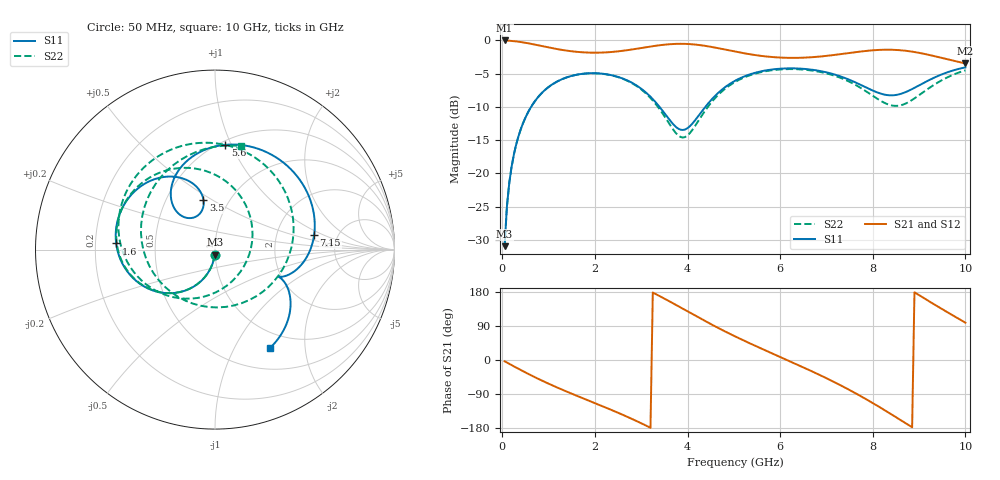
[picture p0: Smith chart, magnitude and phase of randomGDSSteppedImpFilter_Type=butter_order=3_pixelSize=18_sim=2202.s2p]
! freq	dB(S11)	phase(S11)	dB(S12)	phase(S12)
!  dB(S21)	phase(S21)	dB(S22)	phase(S22)
!S-par simulation data
#  GHz  S  DB  R 50
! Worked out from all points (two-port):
!   200 points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, 50 MHz to 10 GHz, reference 50 ohm
!   highest |S21| = -0.01 dB at 50 MHz (marker M1); lowest = -3.5 dB at 10 GHz (marker M2)
!   |S21| within 3 dB of the highest: start of sweep to 9.711 GHz
!   lowest |S11| = -30.9 dB at 50 MHz (marker M3), VSWR 1.06, Z = 49.7 - j2.82 ohm
!   |S11| at or under -10 dB: start of sweep to 622.6 MHz; 3.396 GHz to 4.384 GHz (987.7 MHz wide, 25.4 % of centre)
!   |S22| runs from -30.9 to -4.3 dB; largest |S21 - S12| = 0
!   S11 on the Smith chart (normalised r, x): 50 MHz: 0.99, -0.06; 1.6 GHz: 0.29, +0.03; 3.5 GHz: 0.76, +0.46; 5.6 GHz: 0.53, +0.95; 7.15 GHz: 3.33, +0.77; 10 GHz: 0.78, -1.41
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0.05  -30.94 -93.5  -0.01 -3.4  -0.01 -3.4  -30.94 -93.5
0.1  -24.95 -97.0  -0.02 -6.8  -0.02 -6.8  -24.95 -97.0
0.2  -19.03 -103.8  -0.08 -13.4  -0.08 -13.4  -19.03 -103.8
0.45  -12.41 -120.1  -0.30 -29.7  -0.30 -29.7  -12.41 -120.2
0.95  -7.29 -150.0  -0.98 -59.7  -0.98 -59.7  -7.29 -150.4
1.6  -5.17 176.5  -1.71 -94.0  -1.71 -94.0  -5.17 174.7
1.75  -5.01 169.3  -1.80 -101.5  -1.80 -101.5  -5.01 167.0
2.7  -6.02 126.4  -1.47 -149.9  -1.47 -149.9  -6.07 114.0
3.4  -10.03 103.4  -0.72 168.5  -0.72 168.5  -10.37 56.0
3.5  -10.92 103.0  -0.64 162.0  -0.64 162.0  -11.38 43.6
3.9  -13.47 119.9  -0.51 135.1  -0.51 135.1  -14.60 -29.8
4.25  -11.22 135.2  -0.69 111.4  -0.69 111.4  -11.92 -96.5
5.05  -5.98 111.2  -1.71 61.0  -1.71 61.0  -6.16 -171.6
5.6  -4.63 84.3  -2.34 29.8  -2.34 29.8  -4.75 154.1
6.7  -4.42 29.4  -2.52 -30.7  -2.52 -30.7  -4.54 89.9
7.15  -5.07 8.2  -2.21 -57.2  -2.21 -57.2  -5.25 59.3
7.75  -6.72 -14.8  -1.66 -96.0  -1.66 -96.0  -7.19 7.1
8.35  -8.25 -23.1  -1.40 -139.5  -1.40 -139.5  -9.67 -71.4
8.75  -7.65 -24.2  -1.59 -169.9  -1.59 -169.9  -9.36 -136.1
9.2  -6.03 -32.9  -2.16 156.1  -2.16 156.1  -7.25 161.4
9.65  -4.70 -47.7  -2.90 123.3  -2.90 123.3  -5.43 111.0
10  -4.05 -60.6  -3.47 98.5  -3.47 98.5  -4.50 75.8
